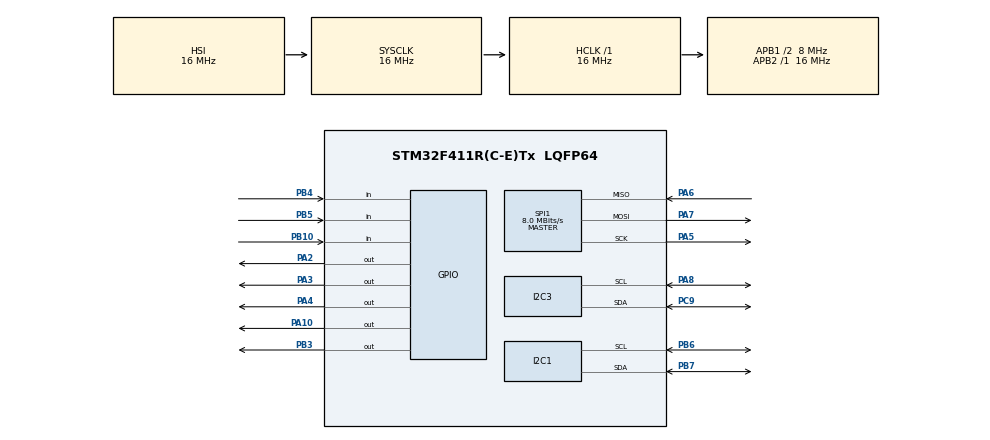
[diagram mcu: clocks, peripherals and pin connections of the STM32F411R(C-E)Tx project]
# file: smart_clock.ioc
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Mcu.Family=STM32F4
Mcu.Name=STM32F411R(C-E)Tx
Mcu.Package=LQFP64
NVIC.PriorityGroup=NVIC_PRIORITYGROUP_4
NVIC.TIM3_IRQn=true\:0\:0\:false\:false\:true\:true\:true\:true
PA10.Signal=GPIO_Output
PA13.Mode=Serial_Wire
PA13.Signal=SYS_JTMS-SWDIO
PA14.Mode=Serial_Wire
PA14.Signal=SYS_JTCK-SWCLK
PA2.Signal=GPIO_Output
PA3.Signal=GPIO_Output
PA4.Signal=GPIO_Output
PA5.Mode=Full_Duplex_Master
PA5.Signal=SPI1_SCK
PA6.Mode=Full_Duplex_Master
PA6.Signal=SPI1_MISO
PA7.Mode=Full_Duplex_Master
PA7.Signal=SPI1_MOSI
PA8.Mode=I2C
PA8.Signal=I2C3_SCL
PB10.GPIO_PuPd=GPIO_PULLUP
PB10.Signal=GPIO_Input
PB3.Signal=GPIO_Output
PB4.GPIO_PuPd=GPIO_PULLUP
PB4.Signal=GPIO_Input
PB5.GPIO_PuPd=GPIO_PULLUP
PB5.Signal=GPIO_Input
PB6.Mode=I2C
PB6.Signal=I2C1_SCL
PB7.Mode=I2C
PB7.Signal=I2C1_SDA
PC9.Mode=I2C
PC9.Signal=I2C3_SDA
PH0\ -\ OSC_IN.Mode=HSE-External-Oscillator
PH0\ -\ OSC_IN.Signal=RCC_OSC_IN
PH1\ -\ OSC_OUT.Mode=HSE-External-Oscillator
PH1\ -\ OSC_OUT.Signal=RCC_OSC_OUT
ProjectManager.HeapSize=0x200
ProjectManager.StackSize=0x400
ProjectManager.TargetToolchain=STM32CubeIDE
RCC.48MHZClocksFreq_Value=100000000
RCC.AHBFreq_Value=16000000
RCC.APB1CLKDivider=RCC_HCLK_DIV2
RCC.APB1Freq_Value=8000000
RCC.APB1TimFreq_Value=16000000
RCC.APB2Freq_Value=16000000
RCC.APB2TimFreq_Value=16000000
RCC.CortexFreq_Value=16000000
RCC.HCLKFreq_Value=16000000
RCC.HSE_VALUE=8000000
RCC.HSI_VALUE=16000000
RCC.LSE_VALUE=32768
RCC.PLLM=4
RCC.PLLN=100
RCC.SYSCLKFreq_VALUE=16000000
RCC.VCOOutputFreq_Value=400000000
SPI1.BaudRatePrescaler=SPI_BAUDRATEPRESCALER_2
SPI1.CalculateBaudRate=8.0 MBits/s
SPI1.Direction=SPI_DIRECTION_2LINES
SPI1.Mode=SPI_MODE_MASTER
SPI1.VirtualType=VM_MASTER
TIM3.Period=49999
TIM3.Prescaler=1999
VP_TIM3_VS_ClockSourceINT.Mode=Internal
board=custom

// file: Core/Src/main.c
/* USER CODE BEGIN Header */
/**
 ******************************************************************************
 * @file           : main.c
 * @brief          : Main program body
 ******************************************************************************
 * @attention
 *
 * Copyright (c) 2023 STMicroelectronics.
 * All rights reserved.
 *
 * This software is licensed under terms that can be found in the LICENSE file
 * in the root directory of this software component.
 * If no LICENSE file comes with this software, it is provided AS-IS.
 *
 ******************************************************************************
 */
/* USER CODE END Header */
#include "main.h"

/* USER CODE BEGIN Includes */
#include "api_handle_display.h"
#include "api_keypad.h"
#include "api_rc522.h"
#include "api_flash.h"
#include <stdio.h>
#include <stdbool.h>
#include "bsp_spi.h"
#include "driver_rc522.h"
#include "driver_flash.h"

/* USER CODE END Includes */

I2C_HandleTypeDef hi2c1;
I2C_HandleTypeDef hi2c3;

SPI_HandleTypeDef hspi1;

TIM_HandleTypeDef htim3;

/* USER CODE BEGIN PV */
//debug
//uint8_t second;
//uint8_t minute;
//uint8_t hour;
//uint8_t dow;
//uint8_t date;
//uint8_t month;
//uint16_t year;
uint8_t a=0;
uint8_t b=0;
volatile bool state = false;
volatile bool flag = true;
volatile uint8_t wrong = 0;

#define MAX_ROWS2 5
#define MAX_COLS2 4
uint8_t password[4] = { 1, 2, 3, 4 };
uint8_t password2[4] = { 5, 6, 7, 9 };
uint8_t all_pass[20][4] = { 0 };
// Khai báo các trạng thái
typedef enum {
	IDLE_STATE,
	CHECK_CARD_STATE,
	ENTER_PASSWORD_STATE,
	CHECK_PASSWORD_TIMEOUT_STATE,
	CHANGE_PASS_ADD_CARD_STATE,
	ADD_CARD_STATE,
	TAP_NEW_CARD_STATE,
	CHANGE_PASS_STATE,
	ENTER_NEW_PASSWORD_STATE,
	BLOCK_STATE
} State;

// Khai báo biến trạng thái hiện tại
State current_state = IDLE_STATE;
uint8_t my_index = 0;

keypad_name keypad;
/* USER CODE END PV */

void SystemClock_Config(void);
static void MX_GPIO_Init(void);
static void MX_TIM3_Init(void);
static void MX_I2C1_Init(void);
static void MX_I2C3_Init(void);
static void MX_SPI1_Init(void);

int main(void)
{
	/* USER CODE BEGIN 1 */
	//
	/* USER CODE END 1 */

	/* MCU Configuration--------------------------------------------------------*/

	/* Reset of all peripherals, Initializes the Flash interface and the Systick. */
	HAL_Init();

	/* USER CODE BEGIN Init */
	//
	/* USER CODE END Init */

	/* Configure the system clock */
	SystemClock_Config();

	/* USER CODE BEGIN SysInit */
	//
	/* USER CODE END SysInit */

	/* Initialize all configured peripherals */
	MX_GPIO_Init();
	MX_TIM3_Init();
	MX_I2C1_Init();
	MX_I2C3_Init();
	MX_SPI1_Init();
	/* USER CODE BEGIN 2 */

	flash_load();
//	bspGetSPI(&hspi1);
//	mfrc522_init();
//	lcd_init(&hi2c3);
//	ds1307_init(&hi2c1);
//	ds1307_set_date_time (50, 56, 11, 6, 1, 9, 2023);
//	HAL_TIM_Base_Start_IT(&htim3);
//
//	//keypad_name keypad;
//	api_keypad_init(&keypad, GPIOB, GPIO_PIN_10, GPIOB, GPIO_PIN_4,
//			GPIOB,	GPIO_PIN_5, GPIOB, GPIO_PIN_3,
//			GPIOA, GPIO_PIN_10, GPIOA, GPIO_PIN_2,
//			GPIOA, GPIO_PIN_3);
//
//	handle_state_master_card();
//	time_delay(1000);

	my_index = read_password_from_flash(0x0800C000, all_pass, 20, 6);

	save_password_to_flash(0x0800C000, password2, 4, my_index);

	// get current pass : all_pass[debug][4]
	//save_password_to_flash(0x0800C000, password2, 4, debug);
	/* USER CODE END 2 */

	/* Infinite loop */
	while (1)
	{

		/* USER CODE BEGIN 3 */
//		switch (current_state) {
//
//		case IDLE_STATE:
//			// Kiểm tra cờ để hiển thị thời gian trên LCD
//			if (flag)
//			{
//				h_display_time();
//				flag = false;
//			}
//
//			// Kiểm tra sự có mặt của thẻ
//			if (check_have_card())
//			{
//				current_state = CHECK_CARD_STATE;
//			}
//
//			// Kiểm tra nút bấm keypad
//			if (api_check_have_button(&keypad))
//			{
//				// Nếu nút '*' được nhấn, chuyển đến trạng thái nhập mật khẩu
//				if (api_check_button(&keypad, '*'))
//				{
//					current_state = ENTER_PASSWORD_STATE;
//				}
//				// Nếu nút '#' được nhấn, chuyển đến trạng thái chọn chế độ thay đổi mật khẩu hoặc thêm thẻ
//				else if (api_check_button(&keypad, '#'))
//				{
//					current_state = CHANGE_PASS_ADD_CARD_STATE;
//				}
//			}
//			break;
//
//		case CHECK_CARD_STATE:
//			// Kiểm tra xem thẻ có hợp lệ không
//			if (check_card_to_access())
//			{
//				open_door();
//				a++;
//
//			}
//			else
//			{
//				h_wrong_card();
//			}
//
//
//			current_state = IDLE_STATE;
//			break;
//
//		case ENTER_PASSWORD_STATE:
//			// Gọi hàm nhập mật khẩu
//			if (api_enter_pass(&keypad, password))
//			{
//				current_state = CHECK_PASSWORD_TIMEOUT_STATE;
//				state = false; //
//			}
//			else
//			{
//				h_timeout();
//				current_state = IDLE_STATE;
//			}
//			break;
//
//		case CHECK_PASSWORD_TIMEOUT_STATE:
//			// Kiểm tra nút bấm và timeout
//			if (api_check_button_timeout(&keypad, '#', 10000))
//			{
//				// Kiểm tra xem mật khẩu có chính xác không
//				//if (!check_password())
//				if (1) // test // 1:SAI
//				{
//					wrong++;
//					if (wrong > 3)
//					{
//						h_block();
//						//h_timeout();
//						b++;
//						wrong = 0;
//						current_state = BLOCK_STATE;
//					}
//					else
//					{
//						h_wrong_pass();
//						current_state = ENTER_PASSWORD_STATE;
//					}
//				}
//				else
//				{
//					if (state)
//					{
//						current_state = ENTER_NEW_PASSWORD_STATE;
//					}
//					else
//					{
//						open_door();
//						a++;
//						wrong = 0;
//						current_state = IDLE_STATE;
//					}
//				}
//			}
//			else
//			{
//				h_timeout();
//				wrong = 0;
//				current_state = IDLE_STATE;
//			}
//			break;
//
//		case CHANGE_PASS_ADD_CARD_STATE:
//			// Hiển thị các tùy chọn chế độ
//			h_display_choose_mode();
//
//			// Kiểm tra nút bấm và timeout
//			if (api_check_have_button_timeout(&keypad, 10000))
//			{
//				// Nếu nút '7' được nhấn, chuyển đến trạng thái chờ thẻ Master
//				if (api_check_button(&keypad, '7'))
//				{
//					current_state = ADD_CARD_STATE;
//				}
//				// Nếu nút '8' được nhấn, chuyển đến trạng thái nhập mật khẩu hiện tại
//				else if (api_check_button(&keypad, '8'))
//				{
//					current_state = CHANGE_PASS_STATE;
//				}
//			}
//			else
//			{
//				h_timeout();
//				current_state = IDLE_STATE;
//			}
//			break;
//
//		case ADD_CARD_STATE:
//			h_display_tap_master_card();
//
//			// Kiểm tra sự có mặt của thẻ và timeout
//			if (check_have_card_with_timeout())
//			{
//				// Kiểm tra xem thẻ có phải là thẻ Master không
//				if (check_master_card())
//				{
//					current_state = TAP_NEW_CARD_STATE;
//					time_delay(1000);
//				}
//				else
//				{
//					h_wrong_card();
//					current_state = IDLE_STATE;
//				}
//			}
//			else
//			{
//				h_timeout();
//				current_state = IDLE_STATE;
//			}
//			break;
//
//		case TAP_NEW_CARD_STATE:
//			h_display_tap_new_card();
//
//			// Kiểm tra sự có mặt của thẻ và timeout
//			if (check_have_card_with_timeout())
//			{
//				// Kiểm tra xem thẻ đã được đăng ký hay chưa
//				if (!check_card_to_access())
//				{
//					a++;
//					add_new_sub_card();
//
//					// ...
//				}
//			}
//			else
//			{
//				h_timeout();
//			}
//
//			current_state = IDLE_STATE;
//			break;
//
//		case CHANGE_PASS_STATE:
//			h_display_enter_current_pass();
//
//			// Nhập mật khẩu hiện tại
//			if (api_enter_pass(&keypad, password))
//			{
//				current_state = CHECK_PASSWORD_TIMEOUT_STATE;
//				state = true;
//				//				//if (check_password())
//				//				if(1) //test
//				//				{
//				//					current_state = ENTER_NEW_PASSWORD_STATE;
//				//				}
//			}
//			else
//			{
//				h_timeout();
//				current_state = IDLE_STATE;
//			}
//			break;
//
//		case ENTER_NEW_PASSWORD_STATE:
//			h_display_enter_new_pass();
//
//			// Kiểm tra nút bấm và timeout
//			if (api_enter_pass(&keypad, password))
//			{
//				if (api_check_button_timeout(&keypad,'#',10000))
//				{
//					//flash_save_pass();
//				}
//				else
//				{
//					h_timeout();
//				}
//			}
//			else
//			{
//				h_timeout();
//			}
//
//			current_state = IDLE_STATE;
//			break;
//
//		case BLOCK_STATE:
//			// Hiển thị thông báo hệ thống bị tạm khóa
//			h_block();
//
//			current_state = IDLE_STATE;
//			break;
//		}
	}
}

//		//debug-----------------------------
////		//second
////		second = ds1307_get_second();
////		//minute
////		minute = ds1307_get_minute();
////		//hour
////		hour = ds1307_get_hour();
////		//dow
////		dow = ds1307_get_dayofweek();
////		//date
////		date = ds1307_get_date();
////		//month
////		month = ds1307_get_month();
////		//year
////		year = ds1307_get_year();
//		//-------------------------------------
//
//		// check flag --> display time on LCD, flag = true every interrupt timer 1s
//		if (flag)
//		{
//			h_display_time();
//			flag = false;
//		}
//
//		//check card
//		if (check_have_card())
//		{
//			if (check_car())
//			{
//				open_door();
//			}
//			else
//			{
//				h_display_wrong_card();
//			}
//		}
//
//		// check button keypad
//		if (api_check_have_button(&keypad))
//		{
//			if (api_check_button(&keypad, '*'))
//			{
//				while(1)
//				{
//				if (enter_pass()) // func enter_pass return 1 if full 4 number, 0 if timeout
//				{
//					if (check_button_with_timeout())
//					{
//						if (!check_password())
//						{
//							wrong++;
//							if (wrong>3)
//							{
//								h_block();
//								h_timeout();
//								wrong = 0;
//								break;
//							}
//							else
//								h_wrong_pass();
//						}
//						else
//						{
//							open_door();
//							wrong = 0;
//							break;
//						}
//					}
//					else
//					{
//						h_timeout();
//						wrong = 0;
//						break;
//					}
//				}
//				else
//				{
//					h_timeout();
//					wrong = 0;
//					break;
//				}
//				}
//			}
//
//			else if (api_check_button(&keypad, '#'))
//			{
//				while(1)
//				{
//					h_display_choose_mode();
//					if (api_check_have_button_timeout(&keypad, 10000))
//					{
//						if (api_check_button(&keypad, '7'))
//						{
//							while(1)
//							{
//								h_display_tap_master_card();
//								if (check_have_card_with_timeout())
//								{
//									if (check_master_card())
//									{
//										while(1)
//										{
//											h_display_tap_new_card();
//											if (check_have_card_with_timeout())
//											{
//												if (!check_card())
//												{
//													save_card();
//													//...
//													break;
//												}
//											}
//											else
//											{
//												h_timeout();
//												wrong = 0;
//												break;
//											}
//										}
//									}
//									else
//										h_wrong_card();
//								}
//								else
//								{
//									h_timeout();
//									wrong = 0;
//									break;
//								}
//							}
//						}
//						else if (api_check_button(&keypad, '8'))
//						{
//							h_display_enter_current_pass();
//							if(enter_pass())
//							{
//								h_display_enter_new_pass();
//								while(1)
//								{
//								if (enter_pass()) // func enter_pass return 1 if full 4 number, 0 if timeout
//								{
//									if (check_button_with_timeout())
//									{
//										if (!check_password())
//										{
//											wrong++;
//											if (wrong>3)
//											{
//												h_block();
//												h_timeout();
//												wrong = 0;
//												break;
//											}
//											else
//												h_wrong_pass();
//										}
//										else
//										{
//											h_display_enter_new_pass();
//											if (enter_pass())
//											{
//												if (check_button_with_timeout())
//												{
//													flash_save_pass();
//												}
//												else
//												{
//													h_timeout();
//													break;
//												}
//											}
//											else
//											{
//												h_timeout();
//												break;
//											}
//
//										}
//									}
//									else
//									{
//										h_timeout();
//										wrong = 0;
//										break;
//									}
//								}
//								else
//								{
//									h_timeout();
//									wrong = 0;
//									break;
//								}
//								}
//							}
//							//.....
//						}
//					}
//					else
//					{
//						h_timeout();
//						wrong = 0;
//						break;
//					}
//
//				}
//
//			}
//		}
//	}
//
/* USER CODE END 3 */

void SystemClock_Config(void)
{
	RCC_OscInitTypeDef RCC_OscInitStruct = {0};
	RCC_ClkInitTypeDef RCC_ClkInitStruct = {0};

	/** Configure the main internal regulator output voltage
	 */
	__HAL_RCC_PWR_CLK_ENABLE();
	__HAL_PWR_VOLTAGESCALING_CONFIG(PWR_REGULATOR_VOLTAGE_SCALE1);

	/** Initializes the RCC Oscillators according to the specified parameters
	 * in the RCC_OscInitTypeDef structure.
	 */
	RCC_OscInitStruct.OscillatorType = RCC_OSCILLATORTYPE_HSI;
	RCC_OscInitStruct.HSIState = RCC_HSI_ON;
	RCC_OscInitStruct.HSICalibrationValue = RCC_HSICALIBRATION_DEFAULT;
	RCC_OscInitStruct.PLL.PLLState = RCC_PLL_NONE;
	if (HAL_RCC_OscConfig(&RCC_OscInitStruct) != HAL_OK)
	{
		Error_Handler();
	}

	/** Initializes the CPU, AHB and APB buses clocks
	 */
	RCC_ClkInitStruct.ClockType = RCC_CLOCKTYPE_HCLK|RCC_CLOCKTYPE_SYSCLK
			|RCC_CLOCKTYPE_PCLK1|RCC_CLOCKTYPE_PCLK2;
	RCC_ClkInitStruct.SYSCLKSource = RCC_SYSCLKSOURCE_HSI;
	RCC_ClkInitStruct.AHBCLKDivider = RCC_SYSCLK_DIV1;
	RCC_ClkInitStruct.APB1CLKDivider = RCC_HCLK_DIV2;
	RCC_ClkInitStruct.APB2CLKDivider = RCC_HCLK_DIV1;

	if (HAL_RCC_ClockConfig(&RCC_ClkInitStruct, FLASH_LATENCY_0) != HAL_OK)
	{
		Error_Handler();
	}
}

static void MX_I2C1_Init(void)
{

	hi2c1.Instance = I2C1;
	hi2c1.Init.ClockSpeed = 100000;
	hi2c1.Init.DutyCycle = I2C_DUTYCYCLE_2;
	hi2c1.Init.OwnAddress1 = 0;
	hi2c1.Init.AddressingMode = I2C_ADDRESSINGMODE_7BIT;
	hi2c1.Init.DualAddressMode = I2C_DUALADDRESS_DISABLE;
	hi2c1.Init.OwnAddress2 = 0;
	hi2c1.Init.GeneralCallMode = I2C_GENERALCALL_DISABLE;
	hi2c1.Init.NoStretchMode = I2C_NOSTRETCH_DISABLE;
	if (HAL_I2C_Init(&hi2c1) != HAL_OK)
	{
		Error_Handler();
	}

}

static void MX_I2C3_Init(void)
{

	hi2c3.Instance = I2C3;
	hi2c3.Init.ClockSpeed = 100000;
	hi2c3.Init.DutyCycle = I2C_DUTYCYCLE_2;
	hi2c3.Init.OwnAddress1 = 0;
	hi2c3.Init.AddressingMode = I2C_ADDRESSINGMODE_7BIT;
	hi2c3.Init.DualAddressMode = I2C_DUALADDRESS_DISABLE;
	hi2c3.Init.OwnAddress2 = 0;
	hi2c3.Init.GeneralCallMode = I2C_GENERALCALL_DISABLE;
	hi2c3.Init.NoStretchMode = I2C_NOSTRETCH_DISABLE;
	if (HAL_I2C_Init(&hi2c3) != HAL_OK)
	{
		Error_Handler();
	}

}

static void MX_SPI1_Init(void)
{

	/* USER CODE BEGIN SPI1_Init 0 */
	//
	/* USER CODE END SPI1_Init 0 */

	/* USER CODE BEGIN SPI1_Init 1 */
	//
	/* USER CODE END SPI1_Init 1 */
	/* SPI1 parameter configuration*/
	hspi1.Instance = SPI1;
	hspi1.Init.Mode = SPI_MODE_MASTER;
	hspi1.Init.Direction = SPI_DIRECTION_2LINES;
	hspi1.Init.DataSize = SPI_DATASIZE_8BIT;
	hspi1.Init.CLKPolarity = SPI_POLARITY_LOW;
	hspi1.Init.CLKPhase = SPI_PHASE_1EDGE;
	hspi1.Init.NSS = SPI_NSS_SOFT;
	hspi1.Init.BaudRatePrescaler = SPI_BAUDRATEPRESCALER_2;
	hspi1.Init.FirstBit = SPI_FIRSTBIT_MSB;
	hspi1.Init.TIMode = SPI_TIMODE_DISABLE;
	hspi1.Init.CRCCalculation = SPI_CRCCALCULATION_DISABLE;
	hspi1.Init.CRCPolynomial = 10;
	if (HAL_SPI_Init(&hspi1) != HAL_OK)
	{
		Error_Handler();
	}
	/* USER CODE BEGIN SPI1_Init 2 */
	//
	/* USER CODE END SPI1_Init 2 */

}

static void MX_TIM3_Init(void)
{

	TIM_ClockConfigTypeDef sClockSourceConfig = {0};
	TIM_MasterConfigTypeDef sMasterConfig = {0};

	htim3.Instance = TIM3;
	htim3.Init.Prescaler = 999;
	htim3.Init.CounterMode = TIM_COUNTERMODE_UP;
	htim3.Init.Period = 15999;
	htim3.Init.ClockDivision = TIM_CLOCKDIVISION_DIV1;
	htim3.Init.AutoReloadPreload = TIM_AUTORELOAD_PRELOAD_DISABLE;
	if (HAL_TIM_Base_Init(&htim3) != HAL_OK)
	{
		Error_Handler();
	}
	sClockSourceConfig.ClockSource = TIM_CLOCKSOURCE_INTERNAL;
	if (HAL_TIM_ConfigClockSource(&htim3, &sClockSourceConfig) != HAL_OK)
	{
		Error_Handler();
	}
	sMasterConfig.MasterOutputTrigger = TIM_TRGO_RESET;
	sMasterConfig.MasterSlaveMode = TIM_MASTERSLAVEMODE_DISABLE;
	if (HAL_TIMEx_MasterConfigSynchronization(&htim3, &sMasterConfig) != HAL_OK)
	{
		Error_Handler();
	}

}

static void MX_GPIO_Init(void)
{
	GPIO_InitTypeDef GPIO_InitStruct = {0};

	/* GPIO Ports Clock Enable */
	__HAL_RCC_GPIOH_CLK_ENABLE();
	__HAL_RCC_GPIOA_CLK_ENABLE();
	__HAL_RCC_GPIOB_CLK_ENABLE();
	__HAL_RCC_GPIOC_CLK_ENABLE();

	/*Configure GPIO pin Output Level */
	HAL_GPIO_WritePin(GPIOA, GPIO_PIN_2|GPIO_PIN_3|GPIO_PIN_4|GPIO_PIN_10, GPIO_PIN_RESET);

	/*Configure GPIO pin Output Level */
	HAL_GPIO_WritePin(GPIOB, GPIO_PIN_3, GPIO_PIN_RESET);

	/*Configure GPIO pins : PA2 PA3 PA4 PA10 */
	GPIO_InitStruct.Pin = GPIO_PIN_2|GPIO_PIN_3|GPIO_PIN_4|GPIO_PIN_10;
	GPIO_InitStruct.Mode = GPIO_MODE_OUTPUT_PP;
	GPIO_InitStruct.Pull = GPIO_NOPULL;
	GPIO_InitStruct.Speed = GPIO_SPEED_FREQ_LOW;
	HAL_GPIO_Init(GPIOA, &GPIO_InitStruct);

	/*Configure GPIO pins : PB10 PB4 PB5 */
	GPIO_InitStruct.Pin = GPIO_PIN_10|GPIO_PIN_4|GPIO_PIN_5;
	GPIO_InitStruct.Mode = GPIO_MODE_INPUT;
	GPIO_InitStruct.Pull = GPIO_PULLUP;
	HAL_GPIO_Init(GPIOB, &GPIO_InitStruct);

	/*Configure GPIO pin : PB3 */
	GPIO_InitStruct.Pin = GPIO_PIN_3;
	GPIO_InitStruct.Mode = GPIO_MODE_OUTPUT_PP;
	GPIO_InitStruct.Pull = GPIO_NOPULL;
	GPIO_InitStruct.Speed = GPIO_SPEED_FREQ_LOW;
	HAL_GPIO_Init(GPIOB, &GPIO_InitStruct);

}

/* USER CODE BEGIN 4 */
void HAL_TIM_PeriodElapsedCallback(TIM_HandleTypeDef *htim)
{
	if (htim->Instance == TIM3)
	{
		flag = true;
	}
}
/* USER CODE END 4 */

void Error_Handler(void)
{
	__disable_irq();
	while (1)
	{
	}
}
